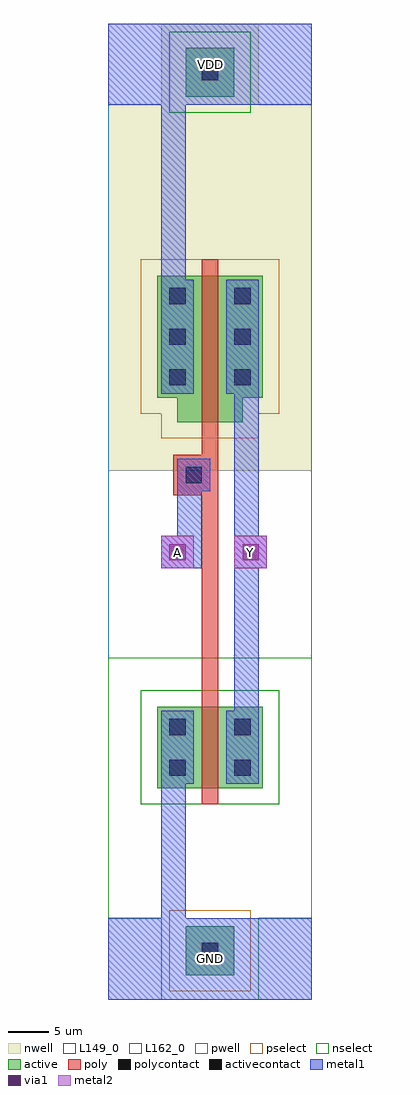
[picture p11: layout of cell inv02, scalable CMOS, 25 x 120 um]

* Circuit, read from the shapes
.subckt inv02 A GND VDD Y
M1 Y A GND GND nfet w=10u l=2u
M2 Y A VDD VDD pfet w=18u l=2u
.ends

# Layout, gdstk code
import gdstk
lib = gdstk.Library(unit=1e-6, precision=1e-09)
def R(c, l, rs):  # rectangles x0, y0, x1, y1
    for r in rs: c.add(gdstk.rectangle(r[:2], r[2:], *l))
def A(c, l, x, y, w, h, nx, ny, dx, dy):  # array of equal rectangles
    R(c, l, [(x+i*dx, y+j*dy, x+i*dx+w, y+j*dy+h) for i in range(nx) for j in range(ny)])
def P(c, l, *ps):  # polygons
    for p in ps: c.add(gdstk.Polygon(p, *l))
pwell = (41, 0)
nwell = (42, 0)
active = (43, 0)
pselect = (44, 0)
nselect = (45, 0)
poly = (46, 0)
polycontact = (47, 0)
activecontact = (48, 0)
metal1 = (49, 0)
via1 = (50, 0)
metal2 = (51, 0)
L149_0 = (149, 0)
L162_0 = (162, 0)

nwell_contact = lib.new_cell('nwell_contact')
R(nwell_contact, nwell, [(-6,-5,6,6)])
R(nwell_contact, active, [(-3,-3,3,3)])
R(nwell_contact, nselect, [(-5,-5,5,5)])
R(nwell_contact, activecontact, [(-1,-1,1,1)])

pwell_contact = lib.new_cell('pwell_contact')
R(pwell_contact, pwell, [(-6,-6,6,5)])
R(pwell_contact, active, [(-3,-3,3,3)])
R(pwell_contact, pselect, [(-5,-5,5,5)])
R(pwell_contact, activecontact, [(-1,-1,1,1)])

via = lib.new_cell('via')
R(via, metal1, [(-2,-2,2,2)])
R(via, via1, [(-1,-1,1,1)])
R(via, metal2, [(-2,-2,2,2)])

inv02 = lib.new_cell('inv02')
R(inv02, pwell, [(0,10,25,20), (0,10,25,42), (0,20,25,42)])
R(inv02, nwell, [(0,65,25,110), (0,95,25,110)])
P(inv02, nwell, [(0,68),(2.5,68),(2.5,65),(22.5,65),(22.5,68),(25,68),(25,95),(0,95)])
R(inv02, active, [(6,26,19,36)])
P(inv02, active, [(6,74),(8.5,74),(8.5,71),(16.5,71),(16.5,74),(19,74),(19,89),(6,89)])
P(inv02, pselect, [(4,72),(6.5,72),(6.5,69),(18.5,69),(18.5,72),(21,72),(21,91),(4,91)])
R(inv02, nselect, [(4,24,21,38)])
R(inv02, poly, [(11.5,24,13.5,26), (11.5,26,13.5,36), (11.5,36,13.5,38), (8,62,13,67), (11.5,69,13.5,71), (11.5,71,13.5,89), (11.5,89,13.5,91)])
R(inv02, polycontact, [(9.5,63.5,11.5,65.5)])
A(inv02, activecontact, 7.5, 75.5, 2, 2, 1, 3, 0, 5)
A(inv02, activecontact, 15.5, 75.5, 2, 2, 1, 3, 0, 5)
R(inv02, activecontact, [(7.5,27.5,9.5,29.5), (15.5,27.5,17.5,29.5), (7.5,32.5,9.5,34.5), (15.5,32.5,17.5,34.5)])
R(inv02, metal1, [(0,0,25,10), (0,0,25,10), (6.5,26.5,10.5,35.5), (14.5,26.5,18.5,35.5), (8.5,62.5,12.5,66.5), (6.5,74.5,10.5,88.5), (14.5,74.5,18.5,88.5), (0,110,25,120), (0,110,25,120)])
R(inv02, metal2, [(6.5,53,10.5,57), (15.5,53,19.5,57)])
R(inv02, L149_0, [(0,0,25,10), (0,0,25,120), (8.5,62.5,12.5,66.5), (0,110,25,120)])
R(inv02, L162_0, [(6.5,53,10.5,57), (15.5,53,19.5,57)])
inv02.add(gdstk.FlexPath([(8,88.5),(8,110)], 3, ends="flush", simple_path=True, layer=149, datatype=0))  # L149_0
inv02.add(gdstk.FlexPath([(8,26.5),(8,10)], 3, ends="flush", simple_path=True, layer=149, datatype=0))  # L149_0
inv02.add(gdstk.FlexPath([(17,74.5),(17,35.5)], 3, ends="flush", simple_path=True, layer=149, datatype=0))  # L149_0
inv02.add(gdstk.FlexPath([(10,53),(10,66.5)], 3, ends="flush", simple_path=True, layer=149, datatype=0))  # L149_0
inv02.add(gdstk.FlexPath([(12.5,69),(12.5,38)], 2, ends="flush", simple_path=True, layer=46, datatype=0))  # poly
inv02.add(gdstk.FlexPath([(8,88.5),(8,110)], 3, ends="flush", simple_path=True, layer=49, datatype=0))  # metal1
inv02.add(gdstk.FlexPath([(8,26.5),(8,10)], 3, ends="flush", simple_path=True, layer=49, datatype=0))  # metal1
inv02.add(gdstk.FlexPath([(17,74.5),(17,35.5)], 3, ends="flush", simple_path=True, layer=49, datatype=0))  # metal1
inv02.add(gdstk.FlexPath([(10,53),(10,66.5)], 3, ends="flush", simple_path=True, layer=49, datatype=0))  # metal1
inv02.add(gdstk.Reference(nwell_contact, (12.5,114)))
inv02.add(gdstk.Reference(pwell_contact, (12.5,6)))
inv02.add(gdstk.Reference(via, (17.5,55)))
inv02.add(gdstk.Reference(via, (8.5,55)))
inv02.add(gdstk.Label('Y', (17.5,55), layer=3, texttype=0))
inv02.add(gdstk.Label('A', (8.5,55), layer=3, texttype=0))
inv02.add(gdstk.Label('VDD', (12.5,115), layer=2, texttype=0))
inv02.add(gdstk.Label('GND', (12.5,5), layer=2, texttype=0))

lib.write_gds('inv02.gds')
